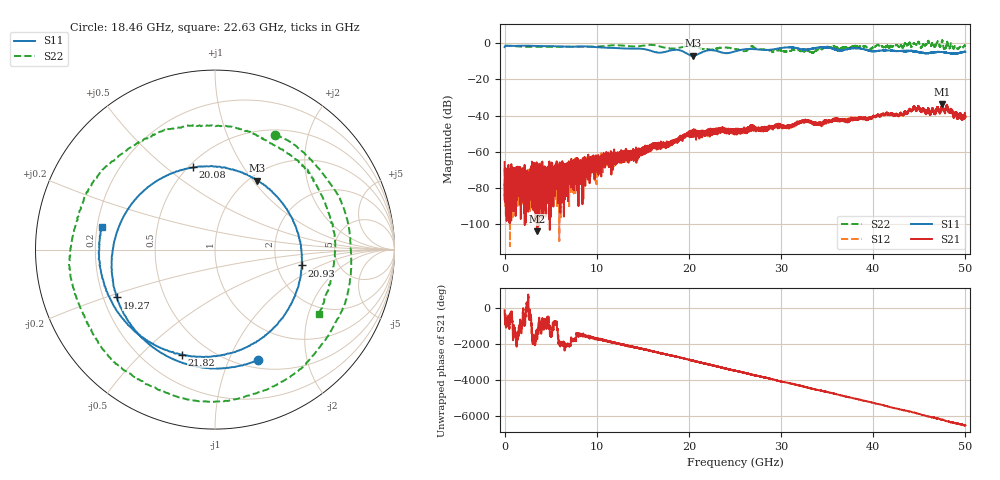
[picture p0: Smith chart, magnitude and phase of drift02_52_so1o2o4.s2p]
!Created with skrf (http://scikit-rf.org).
# Hz S RI R 50.0
!freq ReS11 ImS11 ReS21 ImS21 ReS12 ImS12 ReS22 ImS22
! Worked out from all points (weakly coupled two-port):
!   10001 points, 300 kHz to 50 GHz, reference 50 ohm
!   highest |S21| = -33.56 dB at 47.47 GHz (marker M1); lowest = -103.9 dB at 3.555 GHz (marker M2)
!   lowest |S11| = -6.9 dB at 20.41 GHz (marker M3), VSWR 2.64, Z = 54.2 + j52.3 ohm
!   |S11| at or under -10 dB: nowhere
!   |S22| runs from -5.3 to 1.6 dB; largest |S21 - S12| = 0.0035
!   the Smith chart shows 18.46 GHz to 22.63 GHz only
!   S11 on the Smith chart (normalised r, x): 18.46 GHz: 0.59, -1.29; 19.27 GHz: 0.26, -0.22; 20.08 GHz: 0.53, +0.62; 20.93 GHz: 2.75, -0.64; 21.82 GHz: 0.36, -0.67; 22.63 GHz: 0.22, +0.10
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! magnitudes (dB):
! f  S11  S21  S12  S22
! 300 kHz  -2.1  -65.6  -69.2  -1.3
! 260.3 MHz  -1.4  -72.2  -86.7  -1.4
! 725.3 MHz  -1.5  -73.0  -75.4  -1.5
! 3.555 GHz  -1.5  -103.9  -88.5  -2.0
! 6.515 GHz  -1.9  -75.1  -73.0  -1.9
! 8.335 GHz  -1.7  -65.9  -71.5  -1.9
! 16.67 GHz  -5.2  -56.4  -56.4  -1.5
! 18.46 GHz  -3.6  -53.5  -54.7  -2.8
! 19.27 GHz  -4.3  -51.9  -51.2  -2.1
! 20.08 GHz  -6.5  -49.9  -49.4  -1.5
! 20.41 GHz  -6.9  -49.3  -49.8  -1.8
! 20.93 GHz  -6.2  -49.3  -49.1  -2.2
! 21.82 GHz  -4.2  -49.9  -50.3  -3.5
! 22.63 GHz  -3.8  -50.0  -48.7  -3.3
! 25 GHz  -4.5  -48.7  -49.1  -3.2
! 26.11 GHz  -3.3  -48.5  -47.9  -4.3
! 26.91 GHz  -3.2  -46.6  -45.8  -1.7
! 33.34 GHz  -3.0  -43.7  -43.8  -5.3
! 34.89 GHz  -2.2  -42.8  -43.2  -2.2
! 41.67 GHz  -3.9  -39.0  -39.3  -2.2
! 47.47 GHz  -4.8  -33.6  -34.5  1.6
! 50 GHz  -4.7  -40.2  -41.0  -1.5
